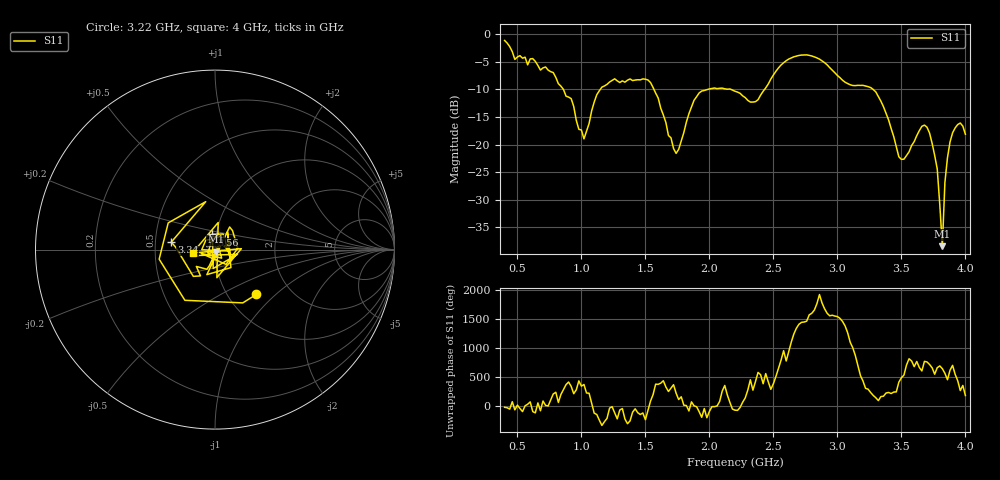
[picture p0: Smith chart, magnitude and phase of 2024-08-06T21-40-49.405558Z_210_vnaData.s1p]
!Created with skrf (http://scikit-rf.org).
# Hz S RI R 50.0
!freq ReS11 ImS11
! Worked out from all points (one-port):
!   181 points, 400 MHz to 4 GHz, reference 50 ohm
!   lowest |S11| = -38.4 dB at 3.82 GHz (marker M1), VSWR 1.02, Z = 50.4 - j1.14 ohm
!   |S11| at or under -10 dB: 859.7 MHz to 1.147 GHz (287.6 MHz wide, 28.7 % of centre); 1.567 GHz to 1.988 GHz (421.3 MHz wide, 23.7 % of centre); 3.279 GHz to end of sweep (the widest 3 of 4)
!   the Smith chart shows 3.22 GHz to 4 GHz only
!   S11 on the Smith chart (normalised r, x): 3.22 GHz: 1.35, -0.76; 3.34 GHz: 0.61, +0.05; 3.56 GHz: 0.95, +0.16; 4 GHz: 0.78, -0.03
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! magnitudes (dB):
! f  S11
! 400 MHz  -1.1
! 480 MHz  -4.6
! 620 MHz  -4.4
! 860 MHz  -10.0
! 1.02 GHz  -19.0
! 1.12 GHz  -11.0
! 1.3 GHz  -8.7
! 1.54 GHz  -8.8
! 1.72 GHz  -20.7
! 1.76 GHz  -20.8
! 1.92 GHz  -10.6
! 2.2 GHz  -10.3
! 2.36 GHz  -12.2
! 2.66 GHz  -4.1
! 2.86 GHz  -4.5
! 3.1 GHz  -9.2
! 3.22 GHz  -9.4
! 3.34 GHz  -12.1
! 3.48 GHz  -22.2
! 3.56 GHz  -21.3
! 3.66 GHz  -16.7
! 3.72 GHz  -17.9
! 3.78 GHz  -24.4
! 3.82 GHz  -38.4
! 3.84 GHz  -26.8
! 3.88 GHz  -19.5
! 3.96 GHz  -16.1
! 4 GHz  -18.1
